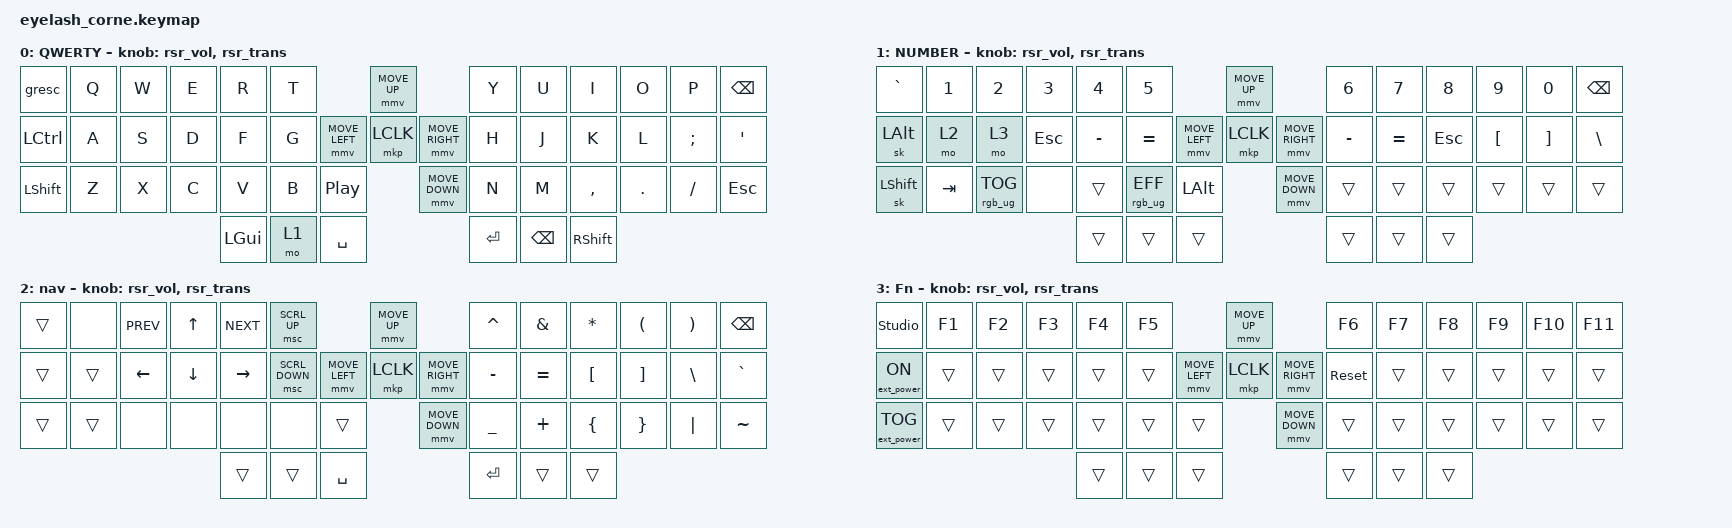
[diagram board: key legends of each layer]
#define ZMK_POINTING_DEFAULT_MOVE_VAL 1200
#define ZMK_POINTING_DEFAULT_SCRL_VAL 25

#include <input/processors.dtsi>
#include <zephyr/dt-bindings/input/input-event-codes.h>
#include <behaviors.dtsi>
#include <behaviors/runtime-sensor-rotate.dtsi>
#include <dt-bindings/zmk/bt.h>
#include <dt-bindings/zmk/keys.h>
#include <dt-bindings/zmk/outputs.h>
#include <dt-bindings/zmk/pointing.h>
#include <dt-bindings/zmk/rgb.h>
#include <dt-bindings/zmk/ext_power.h>

&soft_off { hold-time-ms = <2000>; };

/ {
    behaviors {
        rsr_vol: rsr_vol {
            compatible = "zmk,behavior-runtime-sensor-rotate";
            #sensor-binding-cells = <0>;
            tap-ms = <5>;
            cw-binding = <&kp C_VOL_UP>;
            ccw-binding = <&kp C_VOL_DN>;
        };

        rsr_trans: rsr_trans {
            compatible = "zmk,behavior-runtime-sensor-rotate";
            #sensor-binding-cells = <0>;
            tap-ms = <0>;
        };
    };

    combos {
        compatible = "zmk,combos";

        softoff {
            bindings = <&soft_off>;
            key-positions = <1 15 29>;
        };
    };

    keymap {
        compatible = "zmk,keymap";

        default_layer {
            display-name = "QWERTY";
            bindings = <
&gresc     &kp Q  &kp W  &kp E     &kp R  &kp T                                  &mmv MOVE_UP                     &kp Y  &kp U  &kp I      &kp O    &kp P     &kp BSPC
&kp LCTRL  &kp A  &kp S  &kp D     &kp F  &kp G                  &mmv MOVE_LEFT  &mkp LCLK       &mmv MOVE_RIGHT  &kp H  &kp J  &kp K      &kp L    &kp SEMI  &kp SQT
&kp LSHFT  &kp Z  &kp X  &kp C     &kp V  &kp B  &kp C_PP                        &mmv MOVE_DOWN                   &kp N  &kp M  &kp COMMA  &kp DOT  &kp FSLH  &kp ESC
                                 &kp LGUI  &mo 1  &kp SPACE                                                       &kp RET &kp BSPC &kp RSHFT
            >;
            sensor-bindings = <&rsr_vol &rsr_trans>;
        };

        number_layer {
            display-name = "NUMBER";
            bindings = <
&kp GRAVE  &kp N1   &kp N2   &kp N3     &kp N4     &kp N5                                       &mmv MOVE_UP                     &kp N6     &kp N7     &kp N8    &kp N9    &kp N0    &kp BSPC
&sk LALT   &mo 2    &mo 3    &kp ESC    &kp MINUS  &kp EQUAL                    &mmv MOVE_LEFT  &mkp LCLK       &mmv MOVE_RIGHT  &kp MINUS  &kp EQUAL  &kp ESC   &kp LBKT  &kp RBKT  &kp BSLH
&sk LSHFT  &kp TAB  &rgb_ug RGB_TOG &none  &trans  &rgb_ug RGB_EFF &kp LALT                     &mmv MOVE_DOWN                   &trans     &trans     &trans    &trans    &trans    &trans
                                        &trans     &trans          &trans                                                        &trans     &trans     &trans
            >;
            sensor-bindings = <&rsr_vol &rsr_trans>;
        };

        nav_layer {
            display-name = "nav";
            bindings = <
&trans     &none    &kp C_PREV &kp UP   &kp C_NEXT &msc SCRL_UP                                 &mmv MOVE_UP                     &kp CARET  &kp AMPS   &kp ASTRK &kp LPAR  &kp RPAR  &kp BSPC
&trans     &trans   &kp LEFT   &kp DOWN &kp RIGHT  &msc SCRL_DOWN               &mmv MOVE_LEFT  &mkp LCLK       &mmv MOVE_RIGHT  &kp MINUS  &kp EQUAL  &kp LBKT  &kp RBKT  &kp BSLH  &kp GRAVE
&trans     &trans   &none      &none    &none      &none           &trans                       &mmv MOVE_DOWN                   &kp UNDER  &kp PLUS   &kp LBRC  &kp RBRC  &kp PIPE  &kp TILDE
                                        &trans     &trans          &kp SPACE                                                     &kp RET    &trans     &trans
            >;
            sensor-bindings = <&rsr_vol &rsr_trans>;
        };

        fn_layer {
            display-name = "Fn";
            bindings = <
&studio_unlock &kp F1  &kp F2  &kp F3   &kp F4     &kp F5                                       &mmv MOVE_UP                     &kp F6       &kp F7     &kp F8    &kp F9    &kp F10   &kp F11
&ext_power EP_ON &trans &trans &trans   &trans     &trans                       &mmv MOVE_LEFT  &mkp LCLK       &mmv MOVE_RIGHT  &sys_reset   &trans     &trans    &trans    &trans    &trans
&ext_power EP_TOG &trans &trans &trans  &trans     &trans          &trans                       &mmv MOVE_DOWN                   &trans       &trans     &trans    &trans    &trans    &trans
                                        &trans     &trans          &trans                                                        &trans       &trans     &trans
            >;
            sensor-bindings = <&rsr_vol &rsr_trans>;
        };
    };
};
